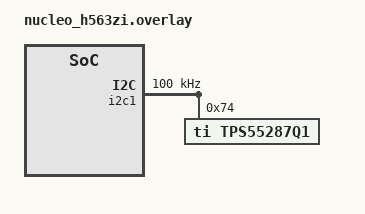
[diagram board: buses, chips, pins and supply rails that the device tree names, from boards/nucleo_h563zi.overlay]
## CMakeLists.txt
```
#-------------------------------------------------------------------------------
# Zephyr Example Application
#
# Copyright (c) 2021 Nordic Semiconductor ASA
# SPDX-License-Identifier: Apache-2.0

cmake_minimum_required(VERSION 3.20.0)
find_package(Zephyr REQUIRED HINTS $ENV{ZEPHYR_BASE})
message("Here: ${CMAKE_SOURCE_DIR}/../drivers")
message("Here: $ENV{ZEPHYR_BASE}")
set(ZEPHYR_EXTRA_MODULES "${CMAKE_SOURCE_DIR}/../drivers/dac/tps55287q1")
# set(ZEPHYR_EXTRA_MODULES "${CMAKE_SOURCE_DIR}/../drivers/dac/tps55287q1")
# set(ZEPHYR_EXTRA_MODULES "../drivers")

project(app LANGUAGES C)

target_sources(app PRIVATE src/main.c)

# # Set C++ standard to what Zephyr supports
# set_property(TARGET app PROPERTY CXX_STANDARD 11)
# set_property(TARGET app PROPERTY CXX_STANDARD_REQUIRED ON)
```

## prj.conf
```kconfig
# DAC
CONFIG_DAC=y
CONFIG_TPS55287Q1=y
# CONFIG_DAC_LOG_LEVEL=3

# I2C
CONFIG_I2C=y

# Logging
CONFIG_LOG=y
CONFIG_LOG_DEFAULT_LEVEL=3
# CONFIG_DAC_LOG_LEVEL=3
```

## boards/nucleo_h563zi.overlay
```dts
/ {
    aliases {
        tps55287q1-rspec = &tps55287q1;
    };
};

&i2c1 {
    clock-frequency = <I2C_BITRATE_STANDARD>;

    tps55287q1: tps55287q1@74 {
        compatible = "ti,tps55287q1";
        status = "okay";
        reg = <0x74>;
        #io-channel-cells = <1>;
    };
};
```

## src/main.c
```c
#include <zephyr/kernel.h>
#include <zephyr/logging/log.h>
#include <zephyr/device.h>
#include <zephyr/drivers/dac.h>
#include <stdio.h>

LOG_MODULE_REGISTER(tps55287q1, LOG_LEVEL_INF);

int main(void) {
    LOG_INF("TPS55287-Q1 DAC");
    const struct device *const tps = DEVICE_DT_GET(DT_ALIAS(tps55287q1_rspec));

    if (!device_is_ready(tps)) {
        LOG_ERR("DAC device %s is not ready\n", tps->name);
        return 0;
    }

    int ret = dac_write_value(tps, 0x00, 1);
    if (ret != 0) {
        LOG_ERR("dac_write_value() failed with code %d\n", ret);
        return 0;
    }

    LOG_INF("End of main function");

    return 0;
}
```
